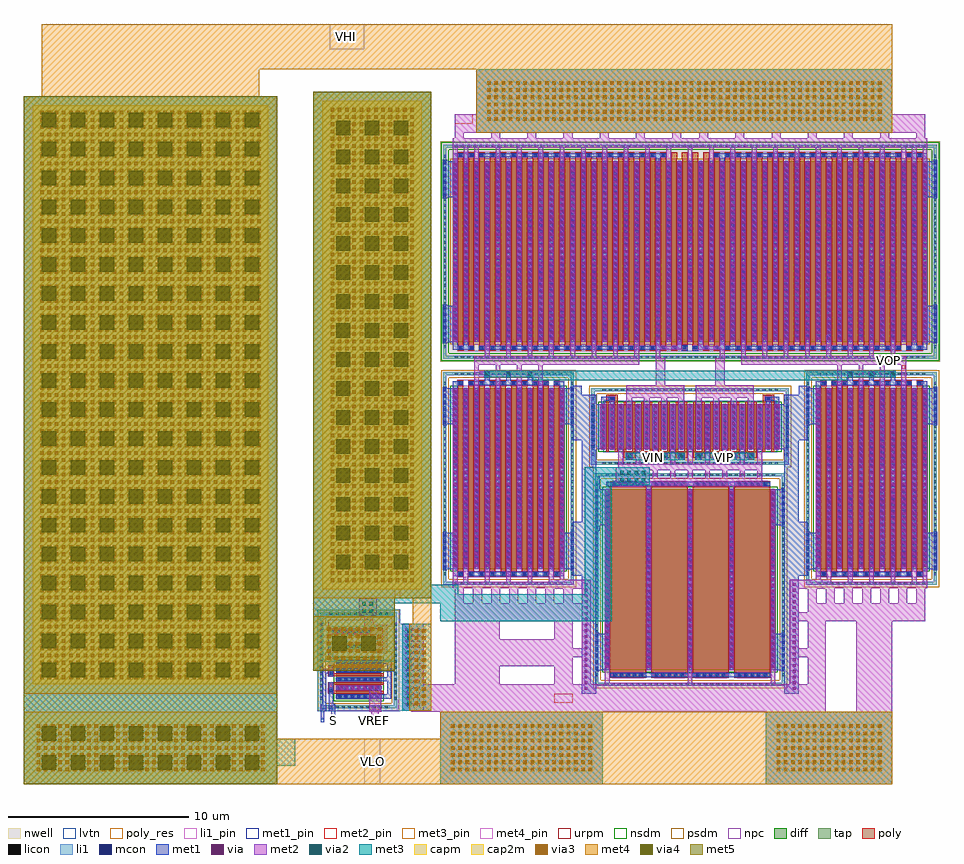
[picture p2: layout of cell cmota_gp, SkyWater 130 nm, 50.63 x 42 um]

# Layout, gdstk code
from math import pi, radians
import gdstk
lib = gdstk.Library(unit=1e-6, precision=1e-09)
def R(c, l, rs):  # rectangles x0, y0, x1, y1
    for r in rs: c.add(gdstk.rectangle(r[:2], r[2:], *l))
def A(c, l, x, y, w, h, nx, ny, dx, dy):  # array of equal rectangles
    R(c, l, [(x+i*dx, y+j*dy, x+i*dx+w, y+j*dy+h) for i in range(nx) for j in range(ny)])
nwell = (64, 20)
diff = (65, 20)
tap = (65, 44)
poly_res = (66, 13)
poly = (66, 20)
licon = (66, 44)
li1_pin = (67, 16)
li1 = (67, 20)
mcon = (67, 44)
met1_pin = (68, 16)
met1 = (68, 20)
via = (68, 44)
met2_pin = (69, 16)
met2 = (69, 20)
via2 = (69, 44)
met3_pin = (70, 16)
met3 = (70, 20)
via3 = (70, 44)
met4_pin = (71, 16)
met4 = (71, 20)
via4 = (71, 44)
met5 = (72, 20)
urpm = (79, 20)
capm = (89, 44)
nsdm = (93, 44)
psdm = (94, 20)
npc = (95, 20)
cap2m = (97, 44)
lvtn = (125, 44)

gated_iref = lib.new_cell('gated_iref')
R(gated_iref, diff, [(5.43,0.75,7.64,3.25)])
R(gated_iref, tap, [(4.92,-0.12,10.23,0.05), (4.92,0.05,5.09,3.95), (10.06,0.05,10.23,3.95), (4.92,3.95,10.23,4.12)])
R(gated_iref, poly_res, [(8.17,2.63,8.52,3.02), (9,2.63,9.35,3.02), (8.17,3.02,9.35,3.37)])
A(gated_iref, poly, 5.74, 0.64, 0.15, 2.74, 4, 1, 0.48, 0)
R(gated_iref, poly, [(5.74,0.31,6.37,0.64), (6.7,0.31,7.33,0.64), (8.17,0.53,8.52,3.02), (9,0.53,9.35,3.02), (8.17,3.02,9.35,3.37)])
A(gated_iref, licon, 5.4, -0.12, 0.17, 0.17, 13, 2, 0.34, 4.07)
A(gated_iref, licon, 4.92, 0.385, 0.17, 0.17, 1, 10, 0, 0.34)
A(gated_iref, licon, 10.06, 0.385, 0.17, 0.17, 1, 10, 0, 0.34)
A(gated_iref, licon, 5.49, 0.895, 0.17, 0.17, 5, 7, 0.48, 0.34)
R(gated_iref, licon, [(5.82,0.39,5.99,0.56), (6.78,0.39,6.95,0.56), (8.25,0.61,8.44,2.61), (9.08,0.61,9.27,2.61)])
R(gated_iref, li1_pin, [(4.8,4.1,5.4,4.2)])
A(gated_iref, li1, 5.49, 0.73, 0.17, 2.54, 3, 1, 0.48, 0)
R(gated_iref, li1, [(4.75,-0.29,10.4,0.05), (4.75,0.05,5.09,3.95), (10.06,0.05,10.4,3.95), (7.41,0.335,8.52,0.59), (9,0.335,9.35,2.69), (5.74,0.39,6.07,0.56), (6.7,0.39,7.03,0.56), (7.41,0.59,7.58,3.27), (8.17,0.59,8.52,2.69), (6.93,0.73,7.1,3.95), (4.75,3.95,10.4,4.29), (4.8,4.29,9.6,4.9)])
A(gated_iref, mcon, 9.085, 0.545, 0.17, 0.17, 1, 6, 0, 0.36)
A(gated_iref, mcon, 5.49, 0.835, 0.17, 0.17, 5, 7, 0.48, 0.36)
R(gated_iref, mcon, [(5.82,0.39,5.99,0.56), (6.78,0.39,6.95,0.56)])
R(gated_iref, met1_pin, [(4.77,-0.01,4.885,0.22), (4.77,0.36,4.885,0.59)])
A(gated_iref, met1, 5.46, 0.75, 0.23, 2.84, 3, 1, 0.96, 0)
R(gated_iref, met1, [(4.77,-0.01,7.1,0.22), (6.87,0.22,7.1,0.36), (9,0.335,9.35,2.69), (4.77,0.36,6.37,0.59), (6.7,0.36,7.33,0.59), (5.925,0.745,6.185,3.25), (6.9,0.75,7.13,3.25), (5.46,3.59,7.61,3.79), (4.8,4.4,9.6,5.6)])
A(gated_iref, via, 9.1, 0.645, 0.15, 0.15, 1, 6, 0, 0.32)
A(gated_iref, via, 5.98, 0.965, 0.15, 0.15, 1, 7, 0, 0.32)
A(gated_iref, via, 5.045, 4.605, 0.15, 0.15, 14, 3, 0.32, 0.32)
R(gated_iref, met2_pin, [(4.745,2.575,4.865,3.25)])
R(gated_iref, met2, [(9,0.335,9.35,2.3), (5.925,0.745,6.185,2.575), (10,2,11,2.3), (9,2.3,11,2.69), (4.745,2.575,6.185,3.25), (10,2.69,11,3), (4.8,4.4,9.6,5.6)])
A(gated_iref, via2, 5.1, 4.7, 0.2, 0.2, 11, 2, 0.4, 0.4)
R(gated_iref, via2, [(10.2,2.2,10.4,2.4), (10.6,2.2,10.8,2.4), (10.2,2.6,10.4,2.8), (10.6,2.6,10.8,2.8)])
R(gated_iref, met3_pin, [(11,4,11.5,4.3)])
R(gated_iref, met3, [(7,-0.5,39,-0.12), (7.24,-0.12,39,0), (7.5,0,39,4), (11,4,39,6), (4.8,4.4,9.6,6)])
A(gated_iref, via3, 7.6, 0.25, 0.2, 0.2, 5, 8, 0.4, 0.4)
A(gated_iref, via3, 11.9, 0.45, 0.2, 0.2, 66, 12, 0.4, 0.4)
A(gated_iref, via3, 5.1, 5.1, 0.2, 0.2, 11, 2, 0.4, 0.4)
R(gated_iref, met4, [(7,-0.5,10,4), (11,-0.5,39,5), (4.8,4.8,9.6,5), (4.8,5,39,6)])
A(gated_iref, via4, 12.6, 0.75, 0.8, 0.8, 16, 3, 1.6, 1.6)
R(gated_iref, via4, [(8.1,0.55,8.9,1.35), (8.1,2.15,8.9,2.95)])
R(gated_iref, met5, [(7,-0.5,39,4), (11,4,39,6)])
R(gated_iref, urpm, [(7.71,0.33,9.81,2.82), (7.97,2.82,9.55,3.57)])
R(gated_iref, capm, [(11.5,0,38.5,5.5)])
R(gated_iref, nsdm, [(5.305,0.625,7.765,3.375)])
R(gated_iref, psdm, [(4.795,-0.245,10.355,0.175), (4.795,0.175,5.215,3.825), (8.06,0.175,9.46,3.825), (9.935,0.175,10.355,3.825), (4.795,3.825,10.355,4.245)])
R(gated_iref, npc, [(5.72,0.29,6.09,0.66), (6.68,0.29,7.05,0.66), (8.075,0.435,8.615,2.925), (8.905,0.435,9.445,2.925), (8.075,2.925,9.445,3.465)])
R(gated_iref, cap2m, [(11.5,0,38.5,5.5)])
gated_iref.add(gdstk.Label('S', (4.827,0.475), layer=68, texttype=16))
gated_iref.add(gdstk.Label('SBAR', (4.827,0.105), layer=68, texttype=16))
gated_iref.add(gdstk.Label('IN', (4.805,2.912), layer=69, texttype=16))
gated_iref.add(gdstk.Label('OUT', (11.25,4.15), layer=70, texttype=16))
gated_iref.add(gdstk.Label('VSUB', (5.1,4.15), layer=67, texttype=16))

cmota_1_flat_1 = lib.new_cell('cmota_1_flat_1')
R(cmota_1_flat_1, nwell, [(-0.815,0.33,26.815,12.52)])
R(cmota_1_flat_1, diff, [(8.275,-16.7,17.725,-6.7), (-0.13,-11.12,6.06,-1.12), (19.935,-11.12,26.125,-1.12), (8.055,-4.5,17.945,-2), (-0.125,1.425,26.125,11.425)])
R(cmota_1_flat_1, tap, [(7.765,-17.57,18.235,-17.4), (7.765,-17.4,7.935,-6), (18.065,-17.4,18.235,-6), (-0.64,-11.99,6.57,-11.82), (19.425,-11.99,26.635,-11.82), (-0.64,-11.82,-0.47,-0.42), (6.4,-11.82,6.57,-0.42), (19.425,-11.82,19.595,-0.42), (26.465,-11.82,26.635,-0.42), (7.765,-6,18.235,-5.83), (7.545,-5.37,18.455,-5.2), (7.545,-5.2,7.715,-1.3), (18.285,-5.2,18.455,-1.3), (7.545,-1.3,18.455,-1.13), (-0.64,-0.42,6.57,-0.25), (19.425,-0.42,26.635,-0.25), (-0.635,0.51,26.635,0.68), (-0.635,0.68,-0.465,12.17), (26.465,0.68,26.635,12.17), (-0.635,12.17,26.635,12.34)])
A(cmota_1_flat_1, poly, 8.565, -17.14, 2, 10.88, 4, 1, 2.29, 0)
A(cmota_1_flat_1, poly, 0.145, -11.56, 0.33, 0.33, 10, 2, 0.59, 10.55)
A(cmota_1_flat_1, poly, 20.21, -11.56, 0.33, 0.33, 10, 2, 0.59, 10.55)
A(cmota_1_flat_1, poly, 0.16, -11.23, 0.3, 10.22, 10, 1, 0.59, 0)
A(cmota_1_flat_1, poly, 20.225, -11.23, 0.3, 10.22, 10, 1, 0.59, 0)
A(cmota_1_flat_1, poly, 9.325, -5, 0.63, 0.39, 8, 1, 0.96, 0)
A(cmota_1_flat_1, poly, 9.325, -4.61, 0.15, 2.74, 16, 1, 0.48, 0)
A(cmota_1_flat_1, poly, 0.15, 0.94, 0.33, 0.33, 44, 2, 0.59, 10.64)
A(cmota_1_flat_1, poly, 0.165, 1.27, 0.3, 10.31, 44, 1, 0.59, 0)
R(cmota_1_flat_1, poly, [(8.365,-4.63,8.515,-1.87), (8.845,-4.63,8.995,-1.87), (17.005,-4.63,17.155,-1.87), (17.485,-4.63,17.635,-1.87), (8.365,-1.87,8.995,-1.48), (17.005,-1.87,17.635,-1.48)])
A(cmota_1_flat_1, licon, 8.325, -17.57, 0.17, 0.17, 28, 2, 0.34, 11.57)
A(cmota_1_flat_1, licon, 8.8, -17.06, 0.17, 0.17, 5, 2, 0.34, 10.55)
A(cmota_1_flat_1, licon, 11.09, -17.06, 0.17, 0.17, 5, 2, 0.34, 10.55)
A(cmota_1_flat_1, licon, 13.38, -17.06, 0.17, 0.17, 5, 2, 0.34, 10.55)
A(cmota_1_flat_1, licon, 15.67, -17.06, 0.17, 0.17, 5, 2, 0.34, 10.55)
A(cmota_1_flat_1, licon, 7.765, -17.055, 0.17, 0.17, 1, 32, 0, 0.34)
A(cmota_1_flat_1, licon, 18.065, -17.055, 0.17, 0.17, 1, 32, 0, 0.34)
A(cmota_1_flat_1, licon, 8.335, -16.545, 0.17, 0.17, 5, 29, 2.29, 0.34)
A(cmota_1_flat_1, licon, -0.01, -11.99, 0.17, 0.17, 18, 2, 0.34, 11.57)
A(cmota_1_flat_1, licon, 20.055, -11.99, 0.17, 0.17, 18, 2, 0.34, 11.57)
A(cmota_1_flat_1, licon, 0.225, -11.48, 0.17, 0.17, 10, 2, 0.59, 10.55)
A(cmota_1_flat_1, licon, 20.29, -11.48, 0.17, 0.17, 10, 2, 0.59, 10.55)
A(cmota_1_flat_1, licon, -0.64, -11.475, 0.17, 0.17, 1, 32, 0, 0.34)
A(cmota_1_flat_1, licon, 6.4, -11.475, 0.17, 0.17, 1, 32, 0, 0.34)
A(cmota_1_flat_1, licon, 19.425, -11.475, 0.17, 0.17, 1, 32, 0, 0.34)
A(cmota_1_flat_1, licon, 26.465, -11.475, 0.17, 0.17, 1, 32, 0, 0.34)
A(cmota_1_flat_1, licon, -0.07, -10.965, 0.17, 0.17, 11, 29, 0.59, 0.34)
A(cmota_1_flat_1, licon, 19.995, -10.965, 0.17, 0.17, 11, 29, 0.59, 0.34)
A(cmota_1_flat_1, licon, 8.155, -5.37, 0.17, 0.17, 29, 2, 0.34, 4.07)
A(cmota_1_flat_1, licon, 9.555, -4.92, 0.17, 0.17, 8, 1, 0.96, 0)
A(cmota_1_flat_1, licon, 7.545, -4.865, 0.17, 0.17, 1, 10, 0, 0.34)
A(cmota_1_flat_1, licon, 18.285, -4.865, 0.17, 0.17, 1, 10, 0, 0.34)
A(cmota_1_flat_1, licon, 8.115, -4.355, 0.17, 0.17, 21, 7, 0.48, 0.34)
A(cmota_1_flat_1, licon, -0.005, 0.51, 0.17, 0.17, 77, 2, 0.34, 11.66)
A(cmota_1_flat_1, licon, 0.23, 1.02, 0.17, 0.17, 44, 1, 0.59, 0)
A(cmota_1_flat_1, licon, -0.635, 1.07, 0.17, 0.17, 1, 32, 0, 0.34)
A(cmota_1_flat_1, licon, 26.465, 1.07, 0.17, 0.17, 1, 32, 0, 0.34)
A(cmota_1_flat_1, licon, -0.065, 1.58, 0.17, 0.17, 45, 29, 0.59, 0.34)
A(cmota_1_flat_1, licon, 0.23, 11.66, 0.17, 0.17, 20, 1, 0.59, 0)
A(cmota_1_flat_1, licon, 14.39, 11.66, 0.17, 0.17, 20, 1, 0.59, 0)
R(cmota_1_flat_1, licon, [(8.595,-1.79,8.765,-1.62), (17.235,-1.79,17.405,-1.62)])
A(cmota_1_flat_1, li1, 8.565, -17.06, 2, 0.17, 4, 2, 2.29, 10.55)
A(cmota_1_flat_1, li1, 8.335, -16.72, 0.17, 10.04, 5, 1, 2.29, 0)
A(cmota_1_flat_1, li1, 0.145, -11.48, 0.33, 0.17, 10, 2, 0.59, 10.55)
A(cmota_1_flat_1, li1, 20.21, -11.48, 0.33, 0.17, 10, 2, 0.59, 10.55)
A(cmota_1_flat_1, li1, -0.07, -11.14, 0.17, 10.04, 11, 1, 0.59, 0)
A(cmota_1_flat_1, li1, 19.995, -11.14, 0.17, 10.04, 11, 1, 0.59, 0)
A(cmota_1_flat_1, li1, 9.475, -4.92, 0.33, 0.17, 8, 1, 0.96, 0)
A(cmota_1_flat_1, li1, 8.115, -4.52, 0.17, 2.54, 21, 1, 0.48, 0)
A(cmota_1_flat_1, li1, 0.15, 1.02, 0.33, 0.17, 44, 1, 0.59, 0)
A(cmota_1_flat_1, li1, -0.065, 1.405, 0.17, 10.04, 45, 1, 0.59, 0)
A(cmota_1_flat_1, li1, 0.15, 11.66, 0.33, 0.17, 20, 1, 0.59, 0)
A(cmota_1_flat_1, li1, 14.31, 11.66, 0.33, 0.17, 20, 1, 0.59, 0)
R(cmota_1_flat_1, li1, [(7.765,-17.57,18.235,-17.4), (7.765,-17.4,7.935,-6), (18.065,-17.4,18.235,-6), (-0.64,-11.99,6.57,-11.82), (19.425,-11.99,26.635,-11.82), (-0.64,-11.82,-0.47,-0.42), (6.4,-11.82,6.57,-0.42), (19.425,-11.82,19.595,-0.42), (26.465,-11.82,26.635,-0.42), (7.765,-6,18.235,-5.83), (7.545,-5.37,18.455,-5.2), (7.545,-5.2,7.715,-1.3), (18.285,-5.2,18.455,-1.3), (8.515,-1.79,8.845,-1.62), (17.155,-1.79,17.485,-1.62), (7.545,-1.3,18.455,-1.13), (-0.64,-0.42,6.57,-0.25), (19.425,-0.42,26.635,-0.25), (-0.635,0.51,26.635,0.68), (-0.635,0.68,-0.465,12.17), (26.465,0.68,26.635,12.17), (-0.635,12.17,26.635,12.34)])
A(cmota_1_flat_1, mcon, 8.76, -17.06, 0.17, 0.17, 5, 2, 0.36, 10.55)
A(cmota_1_flat_1, mcon, 11.05, -17.06, 0.17, 0.17, 5, 2, 0.36, 10.55)
A(cmota_1_flat_1, mcon, 13.34, -17.06, 0.17, 0.17, 5, 2, 0.36, 10.55)
A(cmota_1_flat_1, mcon, 15.63, -17.06, 0.17, 0.17, 5, 2, 0.36, 10.55)
A(cmota_1_flat_1, mcon, 7.765, -16.685, 0.17, 0.17, 1, 6, 0, 0.36)
A(cmota_1_flat_1, mcon, 18.065, -16.685, 0.17, 0.17, 1, 6, 0, 0.36)
A(cmota_1_flat_1, mcon, 8.335, -16.465, 0.17, 0.17, 5, 27, 2.29, 0.36)
A(cmota_1_flat_1, mcon, 0.225, -11.48, 0.17, 0.17, 10, 2, 0.59, 10.55)
A(cmota_1_flat_1, mcon, 20.29, -11.48, 0.17, 0.17, 10, 2, 0.59, 10.55)
A(cmota_1_flat_1, mcon, -0.64, -11.105, 0.17, 0.17, 1, 6, 0, 0.36)
A(cmota_1_flat_1, mcon, 6.4, -11.105, 0.17, 0.17, 1, 6, 0, 0.36)
A(cmota_1_flat_1, mcon, 19.425, -11.105, 0.17, 0.17, 1, 6, 0, 0.36)
A(cmota_1_flat_1, mcon, 26.465, -11.105, 0.17, 0.17, 1, 6, 0, 0.36)
A(cmota_1_flat_1, mcon, -0.07, -10.885, 0.17, 0.17, 11, 27, 0.59, 0.36)
A(cmota_1_flat_1, mcon, 19.995, -10.885, 0.17, 0.17, 11, 27, 0.59, 0.36)
A(cmota_1_flat_1, mcon, 7.765, -8.685, 0.17, 0.17, 1, 6, 0, 0.36)
A(cmota_1_flat_1, mcon, 18.065, -8.685, 0.17, 0.17, 1, 6, 0, 0.36)
A(cmota_1_flat_1, mcon, 9.555, -4.92, 0.17, 0.17, 8, 1, 0.96, 0)
A(cmota_1_flat_1, mcon, 7.545, -4.415, 0.17, 0.17, 1, 7, 0, 0.36)
A(cmota_1_flat_1, mcon, 8.115, -4.415, 0.17, 0.17, 21, 7, 0.48, 0.36)
A(cmota_1_flat_1, mcon, 18.285, -4.415, 0.17, 0.17, 1, 7, 0, 0.36)
A(cmota_1_flat_1, mcon, -0.64, -3.105, 0.17, 0.17, 1, 6, 0, 0.36)
A(cmota_1_flat_1, mcon, 6.4, -3.105, 0.17, 0.17, 1, 6, 0, 0.36)
A(cmota_1_flat_1, mcon, 19.425, -3.105, 0.17, 0.17, 1, 6, 0, 0.36)
A(cmota_1_flat_1, mcon, 26.465, -3.105, 0.17, 0.17, 1, 6, 0, 0.36)
A(cmota_1_flat_1, mcon, 0.23, 1.02, 0.17, 0.17, 44, 1, 0.59, 0)
A(cmota_1_flat_1, mcon, -0.635, 1.44, 0.17, 0.17, 1, 6, 0, 0.36)
A(cmota_1_flat_1, mcon, 26.465, 1.44, 0.17, 0.17, 1, 6, 0, 0.36)
A(cmota_1_flat_1, mcon, -0.065, 1.66, 0.17, 0.17, 45, 27, 0.59, 0.36)
A(cmota_1_flat_1, mcon, -0.635, 9.44, 0.17, 0.17, 1, 6, 0, 0.36)
A(cmota_1_flat_1, mcon, 26.465, 9.44, 0.17, 0.17, 1, 6, 0, 0.36)
A(cmota_1_flat_1, mcon, 0.23, 11.66, 0.17, 0.17, 20, 1, 0.59, 0)
A(cmota_1_flat_1, mcon, 14.39, 11.66, 0.17, 0.17, 20, 1, 0.59, 0)
R(cmota_1_flat_1, mcon, [(8.595,-1.79,8.765,-1.62), (17.235,-1.79,17.405,-1.62)])
R(cmota_1_flat_1, met1_pin, [(8.36,-6.54,8.485,-6.31)])
A(cmota_1_flat_1, met1, 10.58, -16.7, 0.26, 10, 3, 1, 2.29, 0)
A(cmota_1_flat_1, met1, 0.475, -11.12, 0.26, 10, 9, 1, 0.59, 0)
A(cmota_1_flat_1, met1, 20.54, -11.12, 0.26, 10, 9, 1, 0.59, 0)
A(cmota_1_flat_1, met1, 9.445, -5, 0.39, 0.28, 8, 1, 0.96, 0)
A(cmota_1_flat_1, met1, 8.515, -4.5, 0.33, 2.5, 19, 1, 0.48, 0)
A(cmota_1_flat_1, met1, 1.655, -0.73, 0.26, 0.55, 3, 1, 1.18, 0)
A(cmota_1_flat_1, met1, 21.72, -0.73, 0.26, 0.55, 3, 1, 1.18, 0)
A(cmota_1_flat_1, met1, 1.07, 1.425, 0.26, 10, 17, 1, 0.59, 0)
A(cmota_1_flat_1, met1, 11.69, 1.425, 0.26, 10, 4, 1, 1.18, 0)
A(cmota_1_flat_1, met1, 15.82, 1.425, 0.26, 10, 16, 1, 0.59, 0)
R(cmota_1_flat_1, met1, [(7,-18,7.8,-16.76), (18.2,-18,19,-16.76), (8.585,-17.09,17.415,-16.86), (7,-16.76,7.965,-16.7), (18.035,-16.76,19,-16.7), (7,-16.7,8.55,-14.7), (17.45,-16.7,19,-14.7), (7,-14.7,7.965,-14.64), (8.29,-14.7,8.55,-8.7), (17.45,-14.7,17.71,-8.7), (18.035,-14.7,19,-14.64), (7,-14.64,7.8,-11.5), (18.2,-14.64,19,-11.5), (-0.115,-11.51,0.455,-11.28), (0.755,-11.51,5.175,-11.28), (5.475,-11.51,6.045,-11.28), (19.95,-11.51,20.52,-11.28), (20.82,-11.51,25.24,-11.28), (25.54,-11.51,26.11,-11.28), (6.5,-11.5,7.8,-11.18), (18.2,-11.5,19.5,-11.18), (-0.115,-11.28,0.145,-11.12), (5.785,-11.28,6.045,-11.12), (19.95,-11.28,20.21,-11.12), (25.85,-11.28,26.11,-11.12), (-0.67,-11.18,-0.44,-11.12), (6.37,-11.18,7.8,-11.12), (18.2,-11.18,19.625,-11.12), (26.435,-11.18,26.665,-11.12), (-0.67,-11.12,0.145,-9.12), (5.785,-11.12,7.8,-9.12), (18.2,-11.12,20.21,-9.12), (25.85,-11.12,26.665,-9.12), (-0.67,-9.12,-0.44,-9.06), (-0.115,-9.12,0.145,-3.12), (5.785,-9.12,6.045,-3.12), (6.37,-9.12,7.8,-9.06), (18.2,-9.12,19.625,-9.06), (19.95,-9.12,20.21,-3.12), (25.85,-9.12,26.11,-3.12), (26.435,-9.12,26.665,-9.06), (6.5,-9.06,7.8,-9), (18.2,-9.06,19.5,-8.76), (6.5,-9,8,-8.7), (18.035,-8.76,19.5,-8.7), (6.5,-8.7,8.55,-8.5), (17.45,-8.7,19.5,-8.5), (7,-8.5,8.55,-6.7), (17.45,-8.5,19,-6.7), (7,-6.7,8,-6), (18.035,-6.7,19,-6.64), (18.2,-6.64,19,-4.5), (8.36,-6.54,17.415,-6.31), (7,-6,7.8,-4.5), (7,-4.5,8.365,-4), (17.635,-4.5,19,-4), (6.5,-4,8.365,-3.18), (17.635,-4,19.5,-3.18), (-0.67,-3.18,-0.44,-3.12), (6.37,-3.18,8.365,-3.12), (17.635,-3.18,19.625,-3.12), (26.435,-3.18,26.665,-3.12), (-0.67,-3.12,0.145,-1.12), (5.785,-3.12,8.365,-2), (17.635,-3.12,20.21,-2), (25.85,-3.12,26.665,-1.12), (5.785,-2,7.8,-1.5), (8.085,-2,8.315,-1.82), (8.565,-2,8.795,-1.82), (17.205,-2,17.435,-1.82), (17.685,-2,17.915,-1.82), (18.2,-2,20.21,-1.5), (8.085,-1.82,8.845,-1.59), (17.155,-1.82,17.915,-1.59), (5.785,-1.5,7,-1.12), (19,-1.5,20.21,-1.12), (-0.67,-1.12,-0.44,-1.06), (-0.115,-1.12,0.145,-0.96), (5.785,-1.12,6.045,-0.96), (6.37,-1.12,7,-1.06), (19,-1.12,19.625,-1.06), (19.95,-1.12,20.21,-0.96), (25.85,-1.12,26.11,-0.96), (26.435,-1.12,26.665,-1.06), (6.5,-1.06,7,-1), (19,-1.06,19.5,-1), (-0.115,-0.96,0.455,-0.73), (0.755,-0.96,5.175,-0.73), (5.475,-0.96,6.045,-0.73), (19.95,-0.96,20.52,-0.73), (20.82,-0.96,25.24,-0.73), (25.54,-0.96,26.11,-0.73), (12.54,0.905,12.87,0.99), (13.15,0.935,13.445,0.99), (-0.11,0.99,1.05,1.22), (1.35,0.99,12.87,1.22), (13.15,0.99,24.65,1.22), (24.95,0.99,26.11,1.22), (-0.11,1.22,0.15,1.425), (0.48,1.22,0.74,11.63), (11.1,1.22,11.36,11.63), (12.28,1.22,12.87,1.25), (13.46,1.22,13.72,11.425), (14.64,1.22,14.9,11.63), (25.26,1.22,25.52,11.63), (25.85,1.22,26.11,1.425), (12.28,1.25,12.54,11.425), (-0.665,1.365,-0.435,1.425), (26.435,1.365,26.665,1.425), (-0.665,1.425,0.15,3.425), (25.85,1.425,26.665,3.425), (-0.665,3.425,-0.435,3.485), (-0.11,3.425,0.15,9.425), (25.85,3.425,26.11,9.425), (26.435,3.425,26.665,3.485), (-0.665,9.365,-0.435,9.425), (26.435,9.365,26.665,9.425), (-0.665,9.425,0.15,11.425), (25.85,9.425,26.665,11.425), (-0.665,11.425,-0.435,11.485), (-0.11,11.425,0.15,11.63), (25.85,11.425,26.11,11.63), (26.435,11.425,26.665,11.485), (-0.11,11.63,1.05,11.86), (1.35,11.63,11.67,11.86), (14.33,11.63,24.65,11.86), (24.95,11.63,26.11,11.86)])
A(cmota_1_flat_1, via, 7.175, -17.805, 0.15, 0.15, 1, 19, 0, 0.32)
A(cmota_1_flat_1, via, 18.675, -17.805, 0.15, 0.15, 1, 19, 0, 0.32)
A(cmota_1_flat_1, via, 8.345, -16.575, 0.15, 0.15, 5, 31, 2.29, 0.32)
A(cmota_1_flat_1, via, -0.06, -10.995, 0.15, 0.15, 11, 31, 0.59, 0.32)
A(cmota_1_flat_1, via, 20.005, -10.995, 0.15, 0.15, 11, 31, 0.59, 0.32)
A(cmota_1_flat_1, via, 9.565, -4.935, 0.15, 0.15, 8, 1, 0.96, 0)
A(cmota_1_flat_1, via, 8.125, -4.445, 0.15, 0.15, 21, 8, 0.48, 0.32)
A(cmota_1_flat_1, via, 1.71, -0.415, 0.15, 0.15, 3, 1, 1.18, 0)
A(cmota_1_flat_1, via, 21.775, -0.415, 0.15, 0.15, 3, 1, 1.18, 0)
A(cmota_1_flat_1, via, -0.055, 1.55, 0.15, 0.15, 45, 31, 0.59, 0.32)
R(cmota_1_flat_1, met2_pin, [(5.5,-18.5,6.5,-18), (24.7,-0.05,24.9,0.15), (0,13.5,1,14)])
A(cmota_1_flat_1, met2, 8.29, -17.4, 0.26, 10.7, 3, 1, 4.58, 0)
A(cmota_1_flat_1, met2, 0, -13, 0.5, 0.83, 5, 1, 1, 0)
A(cmota_1_flat_1, met2, 5, -13, 0.5, 0.8, 3, 1, 1, 0)
A(cmota_1_flat_1, met2, 21.5, -13, 0.5, 0.83, 5, 1, 1, 0)
A(cmota_1_flat_1, met2, 0.475, -11.82, 0.26, 10.7, 4, 1, 1.18, 0)
A(cmota_1_flat_1, met2, 21.72, -11.82, 0.26, 10.7, 4, 1, 1.18, 0)
A(cmota_1_flat_1, met2, 1.065, -11.12, 0.26, 10.595, 4, 1, 1.18, 0)
A(cmota_1_flat_1, met2, 21.13, -11.12, 0.26, 11.29, 4, 1, 1.18, 0)
A(cmota_1_flat_1, met2, 9.025, -6.08, 0.27, 0.43, 9, 1, 0.96, 0)
A(cmota_1_flat_1, met2, 9.025, -5.3, 0.27, 0.8, 9, 1, 0.96, 0)
A(cmota_1_flat_1, met2, 9.475, -5.1, 0.33, 0.41, 8, 1, 0.96, 0)
A(cmota_1_flat_1, met2, 8.035, -4.5, 0.33, 2.5, 3, 1, 0.48, 0)
A(cmota_1_flat_1, met2, 9.475, -4.5, 0.33, 2.85, 8, 1, 0.96, 0)
A(cmota_1_flat_1, met2, 9.955, -4.5, 0.33, 2.5, 8, 1, 0.96, 0)
A(cmota_1_flat_1, met2, 21.695, -0.525, 0.305, 0.37, 3, 1, 1.18, 0)
A(cmota_1_flat_1, met2, 1.065, -0.155, 0.26, 0.325, 4, 1, 1.18, 0)
A(cmota_1_flat_1, met2, 1.66, 0.68, 0.26, 10.745, 8, 1, 1.18, 0)
A(cmota_1_flat_1, met2, 15.815, 0.68, 0.26, 0.745, 8, 1, 1.18, 0)
A(cmota_1_flat_1, met2, 11.1, 1.22, 0.26, 10.205, 4, 1, 1.18, 0)
A(cmota_1_flat_1, met2, -0.11, 1.425, 0.26, 10.745, 3, 1, 0.59, 0)
A(cmota_1_flat_1, met2, 2.25, 1.425, 0.26, 10.745, 9, 1, 1.18, 0)
A(cmota_1_flat_1, met2, 14.05, 1.425, 0.26, 10.745, 11, 1, 1.18, 0)
A(cmota_1_flat_1, met2, 15.815, 1.425, 0.265, 0.4, 9, 1, 1.18, 0)
A(cmota_1_flat_1, met2, 15.82, 1.825, 0.26, 9.6, 8, 1, 1.18, 0)
A(cmota_1_flat_1, met2, 0, 12.68, 0.5, 0.32, 7, 1, 2, 0)
A(cmota_1_flat_1, met2, 13.5, 12.68, 0.5, 0.32, 7, 1, 2, 0)
R(cmota_1_flat_1, met2, [(5.5,-19,20.5,-17.5), (5.5,-17.5,6.5,-16), (7,-17.5,7.5,-16), (8.29,-17.5,17.71,-17.4), (18.5,-17.5,19,-16), (19.5,-17.5,20.5,-16), (10.58,-16.7,10.84,-6.54), (15.16,-16.7,15.42,-6.54), (5.5,-16,7.5,-15.5), (18.5,-16,20.5,-15.5), (5.5,-15.5,6.5,-14), (7,-15.5,7.5,-14), (18.5,-15.5,19,-14), (19.5,-15.5,20.5,-14), (0,-14,7.5,-13), (18.5,-14,26,-13.5), (18.5,-13.5,19,-12.2), (19.5,-13.5,26,-13), (19.5,-13,20,-12.2), (20.5,-13,21,-12.2), (5,-12.2,7.5,-12.17), (18.5,-12.2,21,-12.17), (-0.115,-12.17,7.5,-11.82), (18.5,-12.17,26.11,-11.82), (-0.115,-11.82,0.145,-1.12), (5.195,-11.82,7.5,-11.7), (18.5,-11.82,20.8,-11.7), (25.85,-11.82,26.11,-1.12), (5.195,-11.7,5.455,-1.12), (5.785,-11.7,6.045,-1.12), (19.95,-11.7,20.21,-1.12), (20.54,-11.7,20.8,-1.12), (9.025,-6.54,16.975,-6.08), (9.025,-5.65,16.975,-5.3), (17.155,-4.5,17.485,-2), (17.635,-4.5,17.965,-2), (9.475,-1.65,12.685,-0.95), (13.315,-1.65,16.525,-0.95), (11.1,-0.95,11.62,0.525), (14.38,-0.95,14.9,0.525), (1.065,-0.525,4.865,-0.155), (1.065,0.17,10.18,0.68), (15.815,0.17,24.93,0.68), (11.1,0.525,11.36,0.99), (14.64,0.525,14.9,0.99), (11.1,0.99,12.54,1.22), (13.46,0.99,14.9,1.22), (12.87,1.42,13.13,12.17), (25.26,1.825,25.52,12.17), (-0.11,12.17,26.11,12.68), (0,13,26,14)])
A(cmota_1_flat_1, via2, 9.54, -4.99, 0.2, 0.2, 8, 1, 0.96, 0)
A(cmota_1_flat_1, via2, 1.685, -0.44, 0.2, 0.2, 3, 1, 1.18, 0)
A(cmota_1_flat_1, via2, 21.75, -0.44, 0.2, 0.2, 3, 1, 1.18, 0)
R(cmota_1_flat_1, met3_pin, [(9.5,-5.05,9.8,-4.75), (16.2,-5.05,16.5,-4.75)])
R(cmota_1_flat_1, met3, [(9.445,-5.1,12.715,-4.69), (13.285,-5.1,16.555,-4.69), (4.3,-0.68,21.695,-0.525), (1.62,-0.525,24.375,-0.155)])
R(cmota_1_flat_1, nsdm, [(8.15,-16.825,17.85,-6.575), (-0.255,-11.245,6.185,-0.995), (19.81,-11.245,26.25,-0.995), (7.93,-4.625,18.07,-1.875), (-0.76,0.385,26.76,0.805), (-0.76,0.805,-0.34,12.045), (26.34,0.805,26.76,12.045), (-0.76,12.045,26.76,12.465)])
R(cmota_1_flat_1, psdm, [(7.64,-17.695,18.36,-17.275), (7.64,-17.275,8.06,-6.125), (17.94,-17.275,18.36,-6.125), (-0.765,-12.115,6.695,-11.695), (19.3,-12.115,26.76,-11.695), (-0.765,-11.695,-0.345,-0.545), (6.275,-11.695,6.695,-0.545), (19.3,-11.695,19.72,-0.545), (26.34,-11.695,26.76,-0.545), (7.64,-6.125,18.36,-5.495), (7.42,-5.495,18.58,-5.075), (7.42,-5.075,7.84,-1.425), (18.16,-5.075,18.58,-1.425), (7.42,-1.425,18.58,-1.005), (-0.765,-0.545,6.695,-0.125), (19.3,-0.545,26.76,-0.125), (-0.25,1.3,26.25,11.55)])
A(cmota_1_flat_1, npc, 8.7, -17.16, 1.73, 0.37, 4, 2, 2.29, 10.55)
A(cmota_1_flat_1, npc, 9.455, -5.02, 0.37, 0.37, 8, 1, 0.96, 0)
R(cmota_1_flat_1, npc, [(0.125,-11.58,5.805,-11.21), (20.19,-11.58,25.87,-11.21), (8.495,-1.89,8.865,-1.52), (17.135,-1.89,17.505,-1.52), (0.125,-1.03,5.805,-0.66), (20.19,-1.03,25.87,-0.66), (0.13,0.92,25.87,1.29), (0.13,11.56,11.71,11.93), (14.29,11.56,25.87,11.93)])
R(cmota_1_flat_1, lvtn, [(8.185,-4.68,17.815,-1.82)])
cmota_1_flat_1.add(gdstk.Label('VHI', (0.5,13.75), layer=69, texttype=16))
cmota_1_flat_1.add(gdstk.Label('VLO', (6,-18.25), layer=69, texttype=16))
cmota_1_flat_1.add(gdstk.Label('VREF', (8.422,-6.425), layer=68, texttype=16))
cmota_1_flat_1.add(gdstk.Label('VOP', (24.8,0.05), layer=69, texttype=16))
cmota_1_flat_1.add(gdstk.Label('VIP', (16.35,-4.9), layer=70, texttype=16))
cmota_1_flat_1.add(gdstk.Label('VIN', (9.65,-4.9), layer=70, texttype=16))

cmota_gp = lib.new_cell('cmota_gp')
R(cmota_gp, met1_pin, [(-21.6,-35.6,-21.4,-35.4), (-21,-35.6,-20.8,-35.4)])
R(cmota_gp, met1, [(-21.6,-35.6,-21.4,-34.6), (-21,-35.6,-20.8,-34.6)])
R(cmota_gp, met2_pin, [(-18.8,-35.7,-18.4,-35.3), (9.3,-15.7,10.3,-15.5)])
R(cmota_gp, met2, [(-15,-39,-6,-35), (3,-39,10,-35), (-18.8,-35.7,-18.4,-34.7), (-16.6,-35,-8,-33.5), (8,-35,10,-29), (-14.2,-33.5,-11.7,-32.5), (-14.2,-32.5,-8,-31), (-14.2,-31,-11.7,-29), (-5.3,-22.5,-3.4,-21.5), (9.3,-15.7,10.3,-15.5), (-13,-3,10,0.5)])
A(cmota_gp, via2, -14.4, -38.3, 0.2, 0.2, 20, 7, 0.4, 0.4)
A(cmota_gp, via2, 3.6, -38.3, 0.2, 0.2, 15, 7, 0.4, 0.4)
A(cmota_gp, via2, -5.05, -22.3, 0.2, 0.2, 4, 2, 0.4, 0.4)
A(cmota_gp, via2, -12.4, -2.35, 0.2, 0.2, 55, 6, 0.4, 0.4)
R(cmota_gp, met3_pin, [(-3.3,-21,-3.1,-20.9), (0.6,-21,0.8,-20.9)])
R(cmota_gp, met3, [(-38,-39,-24,-38), (-15,-39,-6,-35), (3,-39,10,-35), (-38,-38,-23,-36.5), (-38,-36.5,-24,-1), (-15,-30,-5.5,-29), (-18,-29,-5.5,-28.5), (-18,-28.5,-14,-28), (-7,-28.5,-5.5,-22.5), (-7,-22.5,-3.4,-21.5), (-3.3,-21,-3.1,-20.9), (0.6,-21,0.8,-20.9), (-13,-3,10,0.5)])
A(cmota_gp, via3, -37.3, -38.3, 0.2, 0.2, 32, 7, 0.4, 0.4)
A(cmota_gp, via3, -14.4, -38.3, 0.2, 0.2, 20, 7, 0.4, 0.4)
A(cmota_gp, via3, 3.6, -38.3, 0.2, 0.2, 15, 7, 0.4, 0.4)
A(cmota_gp, via3, -37.1, -33.2, 0.2, 0.2, 31, 79, 0.4, 0.4)
A(cmota_gp, via3, -12.4, -2.35, 0.2, 0.2, 55, 6, 0.4, 0.4)
R(cmota_gp, met4_pin, [(-19.2,-39,-18.3,-36.5), (-21.1,1.6,-19.2,3)])
R(cmota_gp, met4, [(-38,-39,10,-36.5), (-38,-36.5,-24,-35), (-15,-36.5,10,-35), (-38,-34,-24,-1), (-13,-3,10,0.5), (-37,-1,-25,0.5), (-37,0.5,10,3)])
A(cmota_gp, via4, -37, -38.2, 0.8, 0.8, 8, 2, 1.6, 1.6)
A(cmota_gp, via4, -37, -33.1, 0.8, 0.8, 8, 20, 1.6, 1.6)
R(cmota_gp, met5, [(-38,-39,-24,-1)])
R(cmota_gp, capm, [(-37.5,-33.5,-24.5,-1.5)])
R(cmota_gp, cap2m, [(-37.5,-33.5,-24.5,-1.5)])
cmota_gp.add(gdstk.Reference(gated_iref, (-21.5,-39.74), rotation=pi/2, x_reflection=True))
cmota_gp.add(gdstk.Reference(cmota_1_flat_1, (-14.18,-16)))
cmota_gp.add(gdstk.Label('VLO', (-18.75,-37.75), layer=71, texttype=16))
cmota_gp.add(gdstk.Label('VREF', (-18.6,-35.5), layer=69, texttype=16))
cmota_gp.add(gdstk.Label('S', (-20.9,-35.5), layer=68, texttype=16))
cmota_gp.add(gdstk.Label('SBAR', (-21.5,-35.5), layer=68, texttype=16))
cmota_gp.add(gdstk.Label('VHI', (-20.15,2.3), layer=71, texttype=16))
cmota_gp.add(gdstk.Label('VIN', (-3.2,-20.95), layer=70, texttype=16))
cmota_gp.add(gdstk.Label('VIP', (0.7,-20.95), layer=70, texttype=16))
cmota_gp.add(gdstk.Label('VOP', (9.8,-15.6), layer=69, texttype=16))

lib.write_gds('cmota_gp.gds')
